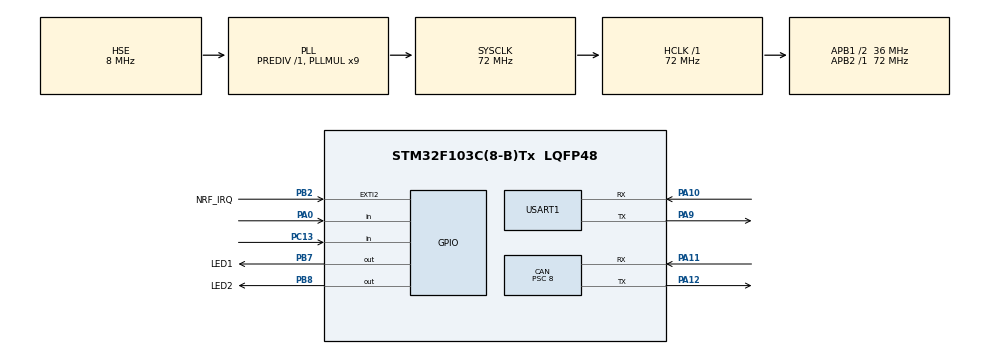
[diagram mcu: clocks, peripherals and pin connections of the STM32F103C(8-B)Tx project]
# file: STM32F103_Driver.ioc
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CAN.BS1=CAN_BS1_2TQ
CAN.BS2=CAN_BS2_2TQ
CAN.CalculateBaudRate=900000
CAN.CalculateTimeBit=1111
CAN.CalculateTimeQuantum=222.22222222222223
CAN.Prescaler=8
CAN.SJW=CAN_SJW_4TQ
Mcu.Family=STM32F1
Mcu.Name=STM32F103C(8-B)Tx
Mcu.Package=LQFP48
NVIC.EXTI2_IRQn=true\:0\:0\:false\:false\:true\:true\:true\:true
NVIC.PriorityGroup=NVIC_PRIORITYGROUP_4
NVIC.TIM1_UP_IRQn=true\:0\:0\:false\:false\:true\:true\:true\:true
NVIC.USART1_IRQn=true\:0\:0\:false\:false\:true\:true\:true\:true
NVIC.USB_HP_CAN1_TX_IRQn=true\:0\:0\:false\:false\:true\:true\:true\:true
NVIC.USB_LP_CAN1_RX0_IRQn=true\:0\:0\:false\:false\:true\:true\:true\:true
PA0-WKUP.GPIO_PuPd=GPIO_PULLDOWN
PA0-WKUP.Signal=GPIO_Input
PA10.Mode=Asynchronous
PA10.Signal=USART1_RX
PA11.Mode=CAN_Activate
PA11.Signal=CAN_RX
PA12.Mode=CAN_Activate
PA12.Signal=CAN_TX
PA13.Mode=Serial_Wire
PA13.Signal=SYS_JTMS-SWDIO
PA14.Mode=Serial_Wire
PA14.Signal=SYS_JTCK-SWCLK
PA9.Mode=Asynchronous
PA9.Signal=USART1_TX
PB2.GPIO_Label=NRF_IRQ
PB2.GPIO_ModeDefaultEXTI=GPIO_MODE_IT_FALLING
PB2.GPIO_PuPd=GPIO_PULLUP
PB2.Signal=GPXTI2
PB7.GPIO_Label=LED1
PB7.GPIO_PuPd=GPIO_PULLUP
PB7.Signal=GPIO_Output
PB8.GPIO_Label=LED2
PB8.GPIO_PuPd=GPIO_PULLUP
PB8.Signal=GPIO_Output
PC13-TAMPER-RTC.GPIO_PuPd=GPIO_PULLUP
PC13-TAMPER-RTC.Signal=GPIO_Input
PC14-OSC32_IN.Mode=LSE-External-Oscillator
PC14-OSC32_IN.Signal=RCC_OSC32_IN
PC15-OSC32_OUT.Mode=LSE-External-Oscillator
PC15-OSC32_OUT.Signal=RCC_OSC32_OUT
PD0-OSC_IN.Mode=HSE-External-Oscillator
PD0-OSC_IN.Signal=RCC_OSC_IN
PD1-OSC_OUT.Mode=HSE-External-Oscillator
PD1-OSC_OUT.Signal=RCC_OSC_OUT
ProjectManager.HeapSize=0x200
ProjectManager.StackSize=0x400
ProjectManager.TargetToolchain=MDK-ARM V5.32
RCC.AHBFreq_Value=72000000
RCC.APB1CLKDivider=RCC_HCLK_DIV2
RCC.APB1Freq_Value=36000000
RCC.APB1TimFreq_Value=72000000
RCC.APB2Freq_Value=72000000
RCC.APB2TimFreq_Value=72000000
RCC.HCLKFreq_Value=72000000
RCC.PLLMUL=RCC_PLL_MUL9
RCC.PLLSourceVirtual=RCC_PLLSOURCE_HSE
RCC.SYSCLKFreq_VALUE=72000000
RCC.SYSCLKSource=RCC_SYSCLKSOURCE_PLLCLK
RCC.USBFreq_Value=72000000
TIM1.Period=1000-1
TIM1.Prescaler=72-1
USART1.VirtualMode=VM_ASYNC
VP_TIM1_VS_ClockSourceINT.Mode=Internal
board=custom

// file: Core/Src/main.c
/* USER CODE BEGIN Header */
/**
  ******************************************************************************
  * @file           : main.c
  * @brief          : Main program body
  ******************************************************************************
  * @attention
  *
  * Copyright (c) 2025 STMicroelectronics.
  * All rights reserved.
  *
  * This software is licensed under terms that can be found in the LICENSE file
  * in the root directory of this software component.
  * If no LICENSE file comes with this software, it is provided AS-IS.
  *
  ******************************************************************************
  */
/* USER CODE END Header */
#include "main.h"
#include "can.h"
#include "tim.h"
#include "usart.h"
#include "gpio.h"

/* USER CODE BEGIN PV */
uint8_t SendFlag;
uint8_t ReceiveFlag;
typedef struct {
    uint16_t successCount;
    uint16_t failedCount;
} Counter_t;

Counter_t txCounter = {0, 0}; // 发送计数
Counter_t rxCounter = {0, 0}; // 接收计数
/* USER CODE END PV */

void SystemClock_Config(void);
/* USER CODE BEGIN PFP */
void rtt_printf(const char *fmt, ...)
{
    static bool rtt_initialized = false;
    if (!rtt_initialized) {
        SEGGER_RTT_Init();
        rtt_initialized = true;
    }

    char buffer[256];  // 临时格式化缓冲区，根据实际需要可调整大小
    va_list args;
    va_start(args, fmt);
    vsnprintf(buffer, sizeof(buffer), fmt, args);
    va_end(args);

    SEGGER_RTT_WriteString(0, buffer);
}

/* ======== 工具函数 ======== */
// 打印数组内容
void PrintBuffer(const char *title, uint8_t *buf, uint8_t len)
{
    printf("%s", title);
    for (uint8_t i = 0; i < len; i++) {
        printf("%02X ", buf[i]);
    }
    printf("\r\n");
}

/* ======== 接收处理 ======== */
void HandleReceive(void)
{
	/*主循环内循环执行NRF24L01_Receive函数，接收数据，同时返回接收标志位，方便用户了解接收状态*/
	/*接收标志位与接收状态的对应关系，可以转到此函数定义上方查看*/
	ReceiveFlag = NRF24L01_Receive();

	if (ReceiveFlag)				//接收标志位不为0，表示收到了一个数据包
	{
		printf("[RX] ReceiveFlag=%d\r\n", ReceiveFlag);
		if (ReceiveFlag == 1)		//接收标志位为1，表示接收成功
		{
			rxCounter.successCount++;
			printf("[RX OK] Count=%d\r\n", rxCounter.successCount);
		}
		else	//接收标志位不为0也不为1，即2/3，表示此次接收产生了错误，错误接收的数据不应该使用
		{
			rxCounter.failedCount++;
			printf("[RX FAIL] Count=%d\r\n", rxCounter.failedCount);
		}
		PrintBuffer("RX Data: ", NRF24L01_RxPacket, 32);
	}
}

/* USER CODE END PFP */

int main(void)
{

  /* MCU Configuration--------------------------------------------------------*/

  /* Reset of all peripherals, Initializes the Flash interface and the Systick. */
  HAL_Init();

  /* Configure the system clock */
  SystemClock_Config();

  /* Initialize all configured peripherals */
  MX_GPIO_Init();
  MX_CAN_Init();
  MX_TIM1_Init();
  MX_USART1_UART_Init();
  /* USER CODE BEGIN 2 */
	HAL_TIM_Base_Start_IT(&htim1); 						// htim1 定时器更新中断
	IIC_GPIO_Init();			//IIC初始化
	SPI_GPIO_Init();			//SPI初始化
	NRF24L01_Init();			//NRF24L01+初始化
	OLED_Init();				//OLED初始化
	/*显示十六进制数字0xA5A5，长度为4，字体大小为6*8点阵*/
	OLED_Printf(0, 0, OLED_8X16,"    MY_TEST    ");
	OLED_Update();

	#if USE_W25Q128
	W25Q128_Test();				//W25Q128测试函数
	#else
	// 调用自检函数
//    uint8_t result = NRF24L01_TestHardware();
//    if(result == 0)
//    {
//        printf("NRF24L01 硬件自检通过，可以进行后续通信测试。\r\n");
//    }
//    else
//    {
//        printf("NRF24L01 硬件自检失败，错误码 = %d\r\n", result);
//    }
	#endif
	CAN_Loopback_Test_Init(); // 设置回环模式并启动 CAN

	printf("----systerm start!\r\n");
  /* USER CODE END 2 */

  /* Infinite loop */
  /* USER CODE BEGIN WHILE */
  while (1)
  {
		LED1_TOGGLE();
		HAL_Delay(500);
//		CAN_Send_Test_Frames();  //发送CAN测试数据
    /* USER CODE END WHILE */

  }
}

void SystemClock_Config(void)
{
  RCC_OscInitTypeDef RCC_OscInitStruct = {0};
  RCC_ClkInitTypeDef RCC_ClkInitStruct = {0};

  /** Initializes the RCC Oscillators according to the specified parameters
  * in the RCC_OscInitTypeDef structure.
  */
  RCC_OscInitStruct.OscillatorType = RCC_OSCILLATORTYPE_HSE;
  RCC_OscInitStruct.HSEState = RCC_HSE_ON;
  RCC_OscInitStruct.HSEPredivValue = RCC_HSE_PREDIV_DIV1;
  RCC_OscInitStruct.HSIState = RCC_HSI_ON;
  RCC_OscInitStruct.PLL.PLLState = RCC_PLL_ON;
  RCC_OscInitStruct.PLL.PLLSource = RCC_PLLSOURCE_HSE;
  RCC_OscInitStruct.PLL.PLLMUL = RCC_PLL_MUL9;
  if (HAL_RCC_OscConfig(&RCC_OscInitStruct) != HAL_OK)
  {
    Error_Handler();
  }

  /** Initializes the CPU, AHB and APB buses clocks
  */
  RCC_ClkInitStruct.ClockType = RCC_CLOCKTYPE_HCLK|RCC_CLOCKTYPE_SYSCLK
                              |RCC_CLOCKTYPE_PCLK1|RCC_CLOCKTYPE_PCLK2;
  RCC_ClkInitStruct.SYSCLKSource = RCC_SYSCLKSOURCE_PLLCLK;
  RCC_ClkInitStruct.AHBCLKDivider = RCC_SYSCLK_DIV1;
  RCC_ClkInitStruct.APB1CLKDivider = RCC_HCLK_DIV2;
  RCC_ClkInitStruct.APB2CLKDivider = RCC_HCLK_DIV1;

  if (HAL_RCC_ClockConfig(&RCC_ClkInitStruct, FLASH_LATENCY_2) != HAL_OK)
  {
    Error_Handler();
  }
}

void Error_Handler(void)
{
  __disable_irq();
  while (1)
  {
  }
}
